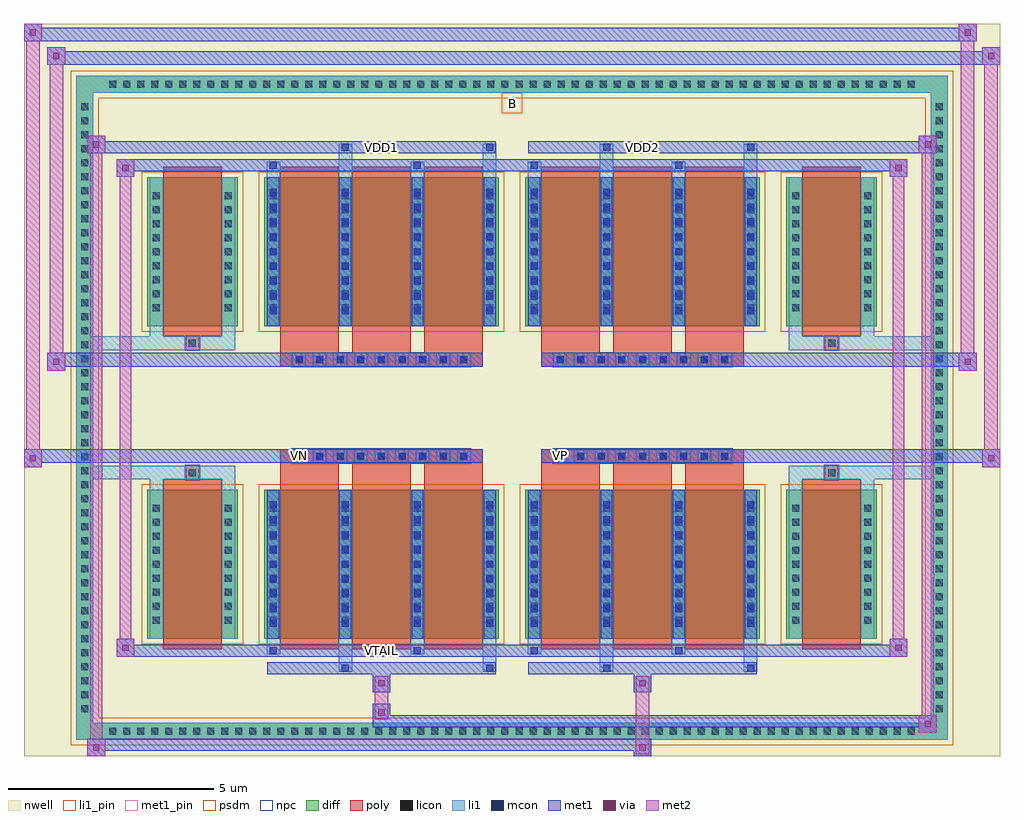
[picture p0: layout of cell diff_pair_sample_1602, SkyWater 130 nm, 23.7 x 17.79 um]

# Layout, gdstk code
import gdstk
lib = gdstk.Library(unit=1e-6, precision=5e-09)
def R(c, l, rs):  # rectangles x0, y0, x1, y1
    for r in rs: c.add(gdstk.rectangle(r[:2], r[2:], *l))
def A(c, l, x, y, w, h, nx, ny, dx, dy):  # array of equal rectangles
    R(c, l, [(x+i*dx, y+j*dy, x+i*dx+w, y+j*dy+h) for i in range(nx) for j in range(ny)])
def P(c, l, *ps):  # polygons
    for p in ps: c.add(gdstk.Polygon(p, *l))
nwell = (64, 20)
diff = (65, 20)
poly = (66, 20)
licon = (66, 44)
li1_pin = (67, 16)
li1 = (67, 20)
mcon = (67, 44)
met1_pin = (68, 16)
met1 = (68, 20)
via = (68, 44)
met2 = (69, 20)
psdm = (94, 20)
npc = (95, 20)

diff_pair_sample_1602 = lib.new_cell('diff_pair_sample_1602')
R(diff_pair_sample_1602, nwell, [(-11.85,-8.46,11.85,9.33), (-9.17,-6.65,-0.01,-0.805), (0.01,-6.65,9.17,-0.805), (-9.17,0.805,-0.01,6.65), (0.01,0.805,9.17,6.65)])
A(diff_pair_sample_1602, diff, -9.895, -8.06, 0.41, 0.41, 58, 2, 0.34, 15.71)
A(diff_pair_sample_1602, diff, -10.58, -7.515, 0.41, 0.41, 1, 44, 0, 0.34)
A(diff_pair_sample_1602, diff, 10.17, -7.515, 0.41, 0.41, 1, 44, 0, 0.34)
R(diff_pair_sample_1602, diff, [(-9.895,-8.06,9.895,-7.65), (-10.58,-7.515,-10.17,7.515), (10.17,-7.515,10.58,7.515), (-8.86,-5.605,-6.66,-1.985), (-6.02,-5.605,-0.32,-1.985), (0.32,-5.605,6.02,-1.985), (6.66,-5.605,8.86,-1.985), (-8.86,1.985,-6.66,5.605), (-6.02,1.985,-0.32,5.605), (0.32,1.985,6.02,5.605), (6.66,1.985,8.86,5.605), (-9.895,7.65,9.895,8.06)])
P(diff_pair_sample_1602, diff, [(10.58,8.06),(-10.58,8.06),(-10.58,-7.65),(-10.17,-7.65),(-10.17,7.65),(10.17,7.65),(10.17,-7.65),(-10.17,-7.65),(-10.58,-7.65),(-10.58,-8.06),(10.58,-8.06)])
A(diff_pair_sample_1602, poly, -5.63, -5.855, 1.42, 4.12, 3, 2, 1.75, 7.59)
A(diff_pair_sample_1602, poly, 0.71, -5.855, 1.42, 4.12, 3, 2, 1.75, 7.59)
A(diff_pair_sample_1602, poly, -5.63, -1.735, 1.42, 0.4, 3, 2, 1.75, 3.07)
A(diff_pair_sample_1602, poly, 0.71, -1.735, 1.42, 0.4, 3, 2, 1.75, 3.07)
A(diff_pair_sample_1602, poly, -5.335, -1.335, 0.33, 0.33, 9, 2, 0.5, 2.34)
A(diff_pair_sample_1602, poly, 1.005, -1.335, 0.33, 0.33, 9, 2, 0.5, 2.34)
R(diff_pair_sample_1602, poly, [(-8.47,-5.855,-7.05,-1.735), (7.05,-5.855,8.47,-1.735), (-7.925,-1.735,-7.595,-1.405), (-7.925,-1.735,-7.595,-1.405), (7.595,-1.735,7.925,-1.405), (7.595,-1.735,7.925,-1.405), (-5.63,-1.335,-0.71,-1.005), (0.71,-1.335,5.63,-1.005), (-5.63,1.005,-0.71,1.335), (0.71,1.005,5.63,1.335), (-7.925,1.405,-7.595,1.735), (-7.925,1.405,-7.595,1.735), (7.595,1.405,7.925,1.735), (7.595,1.405,7.925,1.735), (-8.47,1.735,-7.05,5.855), (7.05,1.735,8.47,5.855)])
A(diff_pair_sample_1602, licon, -9.775, -7.94, 0.17, 0.17, 58, 2, 0.34, 15.71)
A(diff_pair_sample_1602, licon, -10.46, -7.395, 0.17, 0.17, 1, 44, 0, 0.34)
A(diff_pair_sample_1602, licon, 10.29, -7.395, 0.17, 0.17, 1, 44, 0, 0.34)
A(diff_pair_sample_1602, licon, -8.72, -5.24, 0.17, 0.17, 1, 9, 0, 0.34)
A(diff_pair_sample_1602, licon, -6.97, -5.24, 0.17, 0.17, 1, 9, 0, 0.34)
A(diff_pair_sample_1602, licon, -5.88, -5.24, 0.17, 0.17, 4, 9, 1.75, 0.34)
A(diff_pair_sample_1602, licon, 0.46, -5.24, 0.17, 0.17, 4, 9, 1.75, 0.34)
A(diff_pair_sample_1602, licon, 6.8, -5.24, 0.17, 0.17, 1, 9, 0, 0.34)
A(diff_pair_sample_1602, licon, 8.55, -5.24, 0.17, 0.17, 1, 9, 0, 0.34)
A(diff_pair_sample_1602, licon, -5.255, -1.255, 0.17, 0.17, 9, 2, 0.5, 2.34)
A(diff_pair_sample_1602, licon, 1.085, -1.255, 0.17, 0.17, 9, 2, 0.5, 2.34)
A(diff_pair_sample_1602, licon, -8.72, 2.35, 0.17, 0.17, 1, 9, 0, 0.34)
A(diff_pair_sample_1602, licon, -6.97, 2.35, 0.17, 0.17, 1, 9, 0, 0.34)
A(diff_pair_sample_1602, licon, -5.88, 2.35, 0.17, 0.17, 4, 9, 1.75, 0.34)
A(diff_pair_sample_1602, licon, 0.46, 2.35, 0.17, 0.17, 4, 9, 1.75, 0.34)
A(diff_pair_sample_1602, licon, 6.8, 2.35, 0.17, 0.17, 1, 9, 0, 0.34)
A(diff_pair_sample_1602, licon, 8.55, 2.35, 0.17, 0.17, 1, 9, 0, 0.34)
R(diff_pair_sample_1602, licon, [(-7.845,-1.655,-7.675,-1.485), (7.675,-1.655,7.845,-1.485), (-7.845,1.485,-7.675,1.655), (7.675,1.485,7.845,1.655)])
R(diff_pair_sample_1602, li1_pin, [(-0.25,7.15,0.25,7.65)])
A(diff_pair_sample_1602, li1, -9.855, -8.02, 0.33, 0.33, 58, 2, 0.34, 15.71)
A(diff_pair_sample_1602, li1, -10.54, -7.475, 0.33, 0.33, 1, 44, 0, 0.34)
A(diff_pair_sample_1602, li1, 10.21, -7.475, 0.33, 0.33, 1, 44, 0, 0.34)
A(diff_pair_sample_1602, li1, -5.96, -5.605, 0.33, 3.62, 4, 2, 1.75, 7.59)
A(diff_pair_sample_1602, li1, 0.38, -5.605, 0.33, 3.62, 4, 2, 1.75, 7.59)
A(diff_pair_sample_1602, li1, -8.8, -5.32, 0.33, 0.33, 1, 9, 0, 0.34)
A(diff_pair_sample_1602, li1, -7.05, -5.32, 0.33, 0.33, 1, 9, 0, 0.34)
A(diff_pair_sample_1602, li1, -5.96, -5.32, 0.33, 0.33, 4, 9, 1.75, 0.34)
A(diff_pair_sample_1602, li1, -5.88, -5.32, 0.17, 0.17, 4, 9, 1.75, 0.36)
A(diff_pair_sample_1602, li1, -5.88, -5.32, 0.17, 3.05, 4, 2, 1.75, 7.59)
A(diff_pair_sample_1602, li1, 0.38, -5.32, 0.33, 0.33, 4, 9, 1.75, 0.34)
A(diff_pair_sample_1602, li1, 0.46, -5.32, 0.17, 0.17, 4, 9, 1.75, 0.36)
A(diff_pair_sample_1602, li1, 0.46, -5.32, 0.17, 3.05, 4, 2, 1.75, 7.59)
A(diff_pair_sample_1602, li1, 6.72, -5.32, 0.33, 0.33, 1, 9, 0, 0.34)
A(diff_pair_sample_1602, li1, 8.47, -5.32, 0.33, 0.33, 1, 9, 0, 0.34)
A(diff_pair_sample_1602, li1, -5.335, -1.335, 0.33, 0.33, 9, 2, 0.5, 2.34)
A(diff_pair_sample_1602, li1, 1.005, -1.335, 0.33, 0.33, 9, 2, 0.5, 2.34)
A(diff_pair_sample_1602, li1, -8.8, 2.27, 0.33, 0.33, 1, 9, 0, 0.34)
A(diff_pair_sample_1602, li1, -7.05, 2.27, 0.33, 0.33, 1, 9, 0, 0.34)
A(diff_pair_sample_1602, li1, -5.96, 2.27, 0.33, 0.33, 4, 9, 1.75, 0.34)
A(diff_pair_sample_1602, li1, -5.88, 2.27, 0.17, 0.17, 4, 9, 1.75, 0.36)
A(diff_pair_sample_1602, li1, 0.38, 2.27, 0.33, 0.33, 4, 9, 1.75, 0.34)
A(diff_pair_sample_1602, li1, 0.46, 2.27, 0.17, 0.17, 4, 9, 1.75, 0.36)
A(diff_pair_sample_1602, li1, 6.72, 2.27, 0.33, 0.33, 1, 9, 0, 0.34)
A(diff_pair_sample_1602, li1, 8.47, 2.27, 0.33, 0.33, 1, 9, 0, 0.34)
R(diff_pair_sample_1602, li1, [(-10.58,-8.06,-10.17,-7.65), (-10.58,-8.06,-10.17,-7.65), (-10.17,-8.06,10.17,-7.65), (10.17,-8.06,10.58,-7.65), (10.17,-8.06,10.58,-7.65), (-10.58,-7.65,-10.17,7.65), (10.17,-7.65,10.58,7.65), (-4.21,-6.41,-3.88,-5.605), (-4.13,-6.41,-3.96,-6.24), (-0.71,-6.41,-0.38,-5.605), (-0.63,-6.41,-0.46,-6.24), (2.13,-6.41,2.46,-5.605), (2.21,-6.41,2.38,-6.24), (5.63,-6.41,5.96,-5.605), (5.71,-6.41,5.88,-6.24), (-5.96,-5.98,-5.63,-5.605), (-5.88,-5.98,-5.71,-5.81), (-2.46,-5.98,-2.13,-5.605), (-2.38,-5.98,-2.21,-5.81), (0.38,-5.98,0.71,-5.605), (0.46,-5.98,0.63,-5.81), (3.88,-5.98,4.21,-5.605), (3.96,-5.98,4.13,-5.81), (-8.8,-5.605,-8.47,-1.985), (-7.05,-5.605,-6.72,-1.985), (6.72,-5.605,7.05,-1.985), (8.47,-5.605,8.8,-1.985), (-8.8,-1.985,-8.47,-1.405), (-7.05,-1.985,-6.72,-1.405), (6.72,-1.985,7.05,-1.405), (8.47,-1.985,8.8,-1.405), (-10.58,-1.735,-7.925,-1.405), (-8.8,-1.735,-7.925,-1.405), (-7.925,-1.735,-7.595,-1.405), (-7.595,-1.735,-6.72,-1.405), (6.72,-1.735,7.595,-1.405), (7.595,-1.735,7.925,-1.405), (7.595,-1.735,10.58,-1.405), (7.925,-1.735,8.8,-1.405), (-10.58,1.405,-7.925,1.735), (-8.8,1.405,-7.925,1.735), (-8.8,1.405,-8.47,1.985), (-7.925,1.405,-7.595,1.735), (-7.595,1.405,-6.72,1.735), (-7.05,1.405,-6.72,1.985), (6.72,1.405,7.595,1.735), (6.72,1.405,7.05,1.985), (7.595,1.405,7.925,1.735), (7.595,1.405,10.58,1.735), (7.925,1.405,8.8,1.735), (8.47,1.405,8.8,1.985), (-8.8,1.985,-8.47,5.605), (-7.05,1.985,-6.72,5.605), (6.72,1.985,7.05,5.605), (8.47,1.985,8.8,5.605), (-5.96,5.605,-5.63,5.98), (-4.21,5.605,-3.88,6.41), (-2.46,5.605,-2.13,5.98), (-0.71,5.605,-0.38,6.41), (0.38,5.605,0.71,5.98), (2.13,5.605,2.46,6.41), (3.88,5.605,4.21,5.98), (5.63,5.605,5.96,6.41), (-5.88,5.81,-5.71,5.98), (-2.38,5.81,-2.21,5.98), (0.46,5.81,0.63,5.98), (3.96,5.81,4.13,5.98), (-4.13,6.24,-3.96,6.41), (-0.63,6.24,-0.46,6.41), (2.21,6.24,2.38,6.41), (5.71,6.24,5.88,6.41), (-10.58,7.65,-10.17,8.06), (-10.58,7.65,-10.17,8.06), (-10.17,7.65,10.17,8.06), (10.17,7.65,10.58,8.06), (10.17,7.65,10.58,8.06)])
A(diff_pair_sample_1602, mcon, -5.88, -5.32, 0.17, 0.17, 4, 9, 1.75, 0.36)
A(diff_pair_sample_1602, mcon, 0.46, -5.32, 0.17, 0.17, 4, 9, 1.75, 0.36)
A(diff_pair_sample_1602, mcon, -5.255, -1.255, 0.17, 0.17, 9, 2, 0.5, 2.34)
A(diff_pair_sample_1602, mcon, 1.085, -1.255, 0.17, 0.17, 9, 2, 0.5, 2.34)
A(diff_pair_sample_1602, mcon, -5.88, 2.27, 0.17, 0.17, 4, 9, 1.75, 0.36)
A(diff_pair_sample_1602, mcon, 0.46, 2.27, 0.17, 0.17, 4, 9, 1.75, 0.36)
R(diff_pair_sample_1602, mcon, [(-4.13,-6.41,-3.96,-6.24), (-0.63,-6.41,-0.46,-6.24), (2.21,-6.41,2.38,-6.24), (5.71,-6.41,5.88,-6.24), (-5.88,-5.98,-5.71,-5.81), (-2.38,-5.98,-2.21,-5.81), (0.46,-5.98,0.63,-5.81), (3.96,-5.98,4.13,-5.81), (-5.88,5.81,-5.71,5.98), (-2.38,5.81,-2.21,5.98), (0.46,5.81,0.63,5.98), (3.96,5.81,4.13,5.98), (-4.13,6.24,-3.96,6.41), (-0.63,6.24,-0.46,6.41), (2.21,6.24,2.38,6.41), (5.71,6.24,5.88,6.41)])
R(diff_pair_sample_1602, met1_pin, [(-3.305,-6.02,-3.035,-5.75), (-5.305,-1.295,-5.035,-1.025), (1.035,-1.295,1.305,-1.025), (-3.305,6.2,-3.035,6.47), (3.035,6.2,3.305,6.47)])
A(diff_pair_sample_1602, met1, -5.94, -5.605, 0.29, 3.62, 4, 2, 1.75, 7.59)
A(diff_pair_sample_1602, met1, 0.4, -5.605, 0.29, 3.62, 4, 2, 1.75, 7.59)
A(diff_pair_sample_1602, met1, -5.94, -5.38, 0.29, 0.29, 4, 9, 1.75, 0.36)
A(diff_pair_sample_1602, met1, 0.4, -5.38, 0.29, 0.29, 4, 9, 1.75, 0.36)
A(diff_pair_sample_1602, met1, -5.315, -1.315, 0.29, 0.29, 9, 2, 0.5, 2.34)
A(diff_pair_sample_1602, met1, 1.025, -1.315, 0.29, 0.29, 9, 2, 0.5, 2.34)
A(diff_pair_sample_1602, met1, -5.94, 2.21, 0.29, 0.29, 4, 9, 1.75, 0.36)
A(diff_pair_sample_1602, met1, 0.4, 2.21, 0.29, 0.29, 4, 9, 1.75, 0.36)
R(diff_pair_sample_1602, met1, [(-10.31,-8.46,-9.88,-8.03), (2.955,-8.46,3.385,-8.03), (-10.31,-8.32,3.385,-8.03), (9.88,-7.89,10.31,-7.46), (-3.385,-7.75,10.31,-7.46), (-3.385,-7.61,-2.955,-7.18), (-3.385,-6.9,-2.955,-6.47), (2.955,-6.9,3.385,-6.47), (-5.94,-6.47,-0.4,-6.18), (-4.19,-6.47,-3.9,-6.18), (-0.69,-6.47,-0.4,-6.18), (0.4,-6.47,5.94,-6.18), (2.15,-6.47,2.44,-6.18), (5.65,-6.47,5.94,-6.18), (-9.6,-6.04,-9.17,-5.61), (-9.6,-6.04,-5.94,-5.75), (-5.94,-6.04,-5.65,-5.75), (-5.94,-6.04,-0.4,-5.75), (-2.44,-6.04,-2.15,-5.75), (-0.4,-6.04,0.4,-5.75), (0.4,-6.04,0.69,-5.75), (0.4,-6.04,5.94,-5.75), (3.9,-6.04,4.19,-5.75), (5.94,-6.04,9.6,-5.75), (9.17,-6.04,9.6,-5.61), (-11.85,-1.435,-11.42,-1.005), (11.42,-1.435,11.85,-1.005), (-11.85,-1.335,-0.71,-1.005), (-5.63,-1.335,-0.71,-1.005), (0.71,-1.335,5.63,-1.005), (0.71,-1.335,11.85,-1.005), (-11.28,0.905,-10.85,1.335), (10.85,0.905,11.28,1.335), (-11.28,1.005,-5.63,1.335), (-5.63,1.005,-0.71,1.335), (0.71,1.005,5.63,1.335), (5.63,1.005,11.28,1.335), (-9.6,5.61,-9.17,6.04), (9.17,5.61,9.6,6.04), (-9.6,5.75,-5.94,6.04), (-5.94,5.75,-5.65,6.04), (-5.94,5.75,-0.4,6.04), (-2.44,5.75,-2.15,6.04), (-0.4,5.75,0.4,6.04), (0.4,5.75,0.69,6.04), (0.4,5.75,5.94,6.04), (3.9,5.75,4.19,6.04), (5.94,5.75,9.6,6.04), (-10.31,6.18,-9.88,6.61), (-10.31,6.18,-5.94,6.47), (-5.94,6.18,-0.4,6.47), (-4.19,6.18,-3.9,6.47), (-0.69,6.18,-0.4,6.47), (0.4,6.18,5.94,6.47), (2.15,6.18,2.44,6.47), (5.65,6.18,5.94,6.47), (5.94,6.18,10.31,6.47), (9.88,6.18,10.31,6.61), (-11.28,8.33,-10.85,8.76), (-11.28,8.33,-9.17,8.66), (-9.17,8.33,9.17,8.66), (9.17,8.33,11.85,8.66), (11.42,8.33,11.85,8.76), (-11.85,8.9,-11.42,9.33), (-11.85,8.9,-9.17,9.23), (-9.17,8.9,9.17,9.23), (9.17,8.9,11.28,9.23), (10.85,8.9,11.28,9.33)])
R(diff_pair_sample_1602, via, [(-10.17,-8.32,-10.02,-8.17), (3.095,-8.32,3.245,-8.17), (10.02,-7.75,10.17,-7.6), (-3.245,-7.47,-3.095,-7.32), (-3.245,-6.76,-3.095,-6.61), (3.095,-6.76,3.245,-6.61), (-9.46,-5.9,-9.31,-5.75), (9.31,-5.9,9.46,-5.75), (-11.71,-1.295,-11.56,-1.145), (11.56,-1.295,11.71,-1.145), (-11.14,1.045,-10.99,1.195), (10.99,1.045,11.14,1.195), (-9.46,5.75,-9.31,5.9), (9.31,5.75,9.46,5.9), (-10.17,6.32,-10.02,6.47), (10.02,6.32,10.17,6.47), (-11.14,8.47,-10.99,8.62), (11.56,8.47,11.71,8.62), (-11.71,9.04,-11.56,9.19), (10.99,9.04,11.14,9.19)])
R(diff_pair_sample_1602, met2, [(-10.31,-8.46,-9.88,-8.03), (-10.24,-8.46,-9.95,6.61), (-9.95,-8.46,-9.88,-8.03), (-10.26,-8.41,-9.93,-8.08), (3.005,-8.41,3.335,-8.08), (3.005,-8.08,3.335,-6.85), (9.88,-7.89,10.31,-7.46), (9.95,-7.89,10.24,6.61), (10.24,-7.89,10.31,-7.46), (9.93,-7.84,10.26,-7.51), (-3.335,-7.56,-3.005,-7.23), (-3.335,-7.23,-3.005,-6.85), (-3.335,-6.85,-3.005,-6.52), (3.005,-6.85,3.335,-6.52), (-9.6,-6.04,-9.17,-5.61), (-9.53,-6.04,-9.24,6.04), (-9.24,-6.04,-9.17,-5.61), (9.17,-6.04,9.6,-5.61), (9.24,-6.04,9.53,6.04), (9.53,-6.04,9.6,-5.61), (-9.55,-5.99,-9.22,-5.66), (9.22,-5.99,9.55,-5.66), (-11.85,-1.435,-11.42,-1.005), (-11.8,-1.435,-11.47,9.33), (-11.47,-1.435,-11.42,-1.005), (11.42,-1.435,11.85,-1.005), (11.47,-1.435,11.8,8.76), (11.8,-1.435,11.85,-1.005), (-11.8,-1.385,-11.47,-1.055), (11.47,-1.385,11.8,-1.055), (-11.28,0.905,-10.85,1.335), (-11.23,0.905,-10.9,8.76), (-10.9,0.905,-10.85,1.335), (10.85,0.905,11.28,1.335), (10.9,0.905,11.23,9.33), (11.23,0.905,11.28,1.335), (-11.23,0.955,-10.9,1.285), (10.9,0.955,11.23,1.285), (-9.6,5.61,-9.17,6.04), (-9.24,5.61,-9.17,6.04), (9.17,5.61,9.6,6.04), (9.53,5.61,9.6,6.04), (-9.55,5.66,-9.22,5.99), (9.22,5.66,9.55,5.99), (-10.31,6.18,-9.88,6.61), (-9.95,6.18,-9.88,6.61), (9.88,6.18,10.31,6.61), (10.24,6.18,10.31,6.61), (-10.26,6.23,-9.93,6.56), (9.93,6.23,10.26,6.56), (-11.28,8.33,-10.85,8.76), (-10.9,8.33,-10.85,8.76), (11.42,8.33,11.85,8.76), (11.8,8.33,11.85,8.76), (-11.23,8.38,-10.9,8.71), (11.47,8.38,11.8,8.71), (-11.85,8.9,-11.42,9.33), (-11.47,8.9,-11.42,9.33), (10.85,8.9,11.28,9.33), (11.23,8.9,11.28,9.33), (-11.8,8.95,-11.47,9.28), (10.9,8.95,11.23,9.28)])
R(diff_pair_sample_1602, psdm, [(-8.99,-5.735,-6.53,-1.855), (-6.15,-5.735,-0.19,-1.855), (0.19,-5.735,6.15,-1.855), (6.53,-5.735,8.99,-1.855), (-8.99,1.855,-6.53,5.735), (-6.15,1.855,-0.19,5.735), (0.19,1.855,6.15,5.735), (6.53,1.855,8.99,5.735)])
P(diff_pair_sample_1602, psdm, [(10.71,8.19),(-10.71,8.19),(-10.71,-7.52),(-10.04,-7.52),(-10.04,7.52),(10.04,7.52),(10.04,-7.52),(-10.04,-7.52),(-10.71,-7.52),(-10.71,-8.19),(10.71,-8.19)])
A(diff_pair_sample_1602, npc, -5.355, -1.355, 0.37, 0.37, 9, 2, 0.5, 2.34)
A(diff_pair_sample_1602, npc, 0.985, -1.355, 0.37, 0.37, 9, 2, 0.5, 2.34)
R(diff_pair_sample_1602, npc, [(-7.945,-1.755,-7.575,-1.385), (7.575,-1.755,7.945,-1.385), (-5.355,-1.355,-4.485,-0.985), (-5.355,-1.355,-4.485,-0.985), (-4.855,-1.355,-3.985,-0.985), (-4.855,-1.355,-3.985,-0.985), (-4.355,-1.355,-3.485,-0.985), (-4.355,-1.355,-3.485,-0.985), (-3.855,-1.355,-2.985,-0.985), (-3.855,-1.355,-2.985,-0.985), (-3.355,-1.355,-2.485,-0.985), (-3.355,-1.355,-2.485,-0.985), (-2.855,-1.355,-1.985,-0.985), (-2.855,-1.355,-1.985,-0.985), (-2.355,-1.355,-1.485,-0.985), (-2.355,-1.355,-1.485,-0.985), (-1.855,-1.355,-0.985,-0.985), (-1.855,-1.355,-0.985,-0.985), (0.985,-1.355,1.855,-0.985), (0.985,-1.355,1.855,-0.985), (1.485,-1.355,2.355,-0.985), (1.485,-1.355,2.355,-0.985), (1.985,-1.355,2.855,-0.985), (1.985,-1.355,2.855,-0.985), (2.485,-1.355,3.355,-0.985), (2.485,-1.355,3.355,-0.985), (2.985,-1.355,3.855,-0.985), (2.985,-1.355,3.855,-0.985), (3.485,-1.355,4.355,-0.985), (3.485,-1.355,4.355,-0.985), (3.985,-1.355,4.855,-0.985), (3.985,-1.355,4.855,-0.985), (4.485,-1.355,5.355,-0.985), (4.485,-1.355,5.355,-0.985), (-5.355,0.985,-4.485,1.355), (-5.355,0.985,-4.485,1.355), (-4.855,0.985,-3.985,1.355), (-4.855,0.985,-3.985,1.355), (-4.355,0.985,-3.485,1.355), (-4.355,0.985,-3.485,1.355), (-3.855,0.985,-2.985,1.355), (-3.855,0.985,-2.985,1.355), (-3.355,0.985,-2.485,1.355), (-3.355,0.985,-2.485,1.355), (-2.855,0.985,-1.985,1.355), (-2.855,0.985,-1.985,1.355), (-2.355,0.985,-1.485,1.355), (-2.355,0.985,-1.485,1.355), (-1.855,0.985,-0.985,1.355), (-1.855,0.985,-0.985,1.355), (0.985,0.985,1.855,1.355), (0.985,0.985,1.855,1.355), (1.485,0.985,2.355,1.355), (1.485,0.985,2.355,1.355), (1.985,0.985,2.855,1.355), (1.985,0.985,2.855,1.355), (2.485,0.985,3.355,1.355), (2.485,0.985,3.355,1.355), (2.985,0.985,3.855,1.355), (2.985,0.985,3.855,1.355), (3.485,0.985,4.355,1.355), (3.485,0.985,4.355,1.355), (3.985,0.985,4.855,1.355), (3.985,0.985,4.855,1.355), (4.485,0.985,5.355,1.355), (4.485,0.985,5.355,1.355), (-7.945,1.385,-7.575,1.755), (7.575,1.385,7.945,1.755)])
diff_pair_sample_1602.add(gdstk.Label('VTAIL', (-3.17,-5.885), layer=68, texttype=5))
diff_pair_sample_1602.add(gdstk.Label('VN', (-5.17,-1.16), layer=68, texttype=5))
diff_pair_sample_1602.add(gdstk.Label('VP', (1.17,-1.16), layer=68, texttype=5))
diff_pair_sample_1602.add(gdstk.Label('B', (0,7.4), layer=67, texttype=5))
diff_pair_sample_1602.add(gdstk.Label('VDD2', (3.17,6.335), layer=68, texttype=5))
diff_pair_sample_1602.add(gdstk.Label('VDD1', (-3.17,6.335), layer=68, texttype=5))

lib.write_gds('diff_pair_sample_1602.gds')
